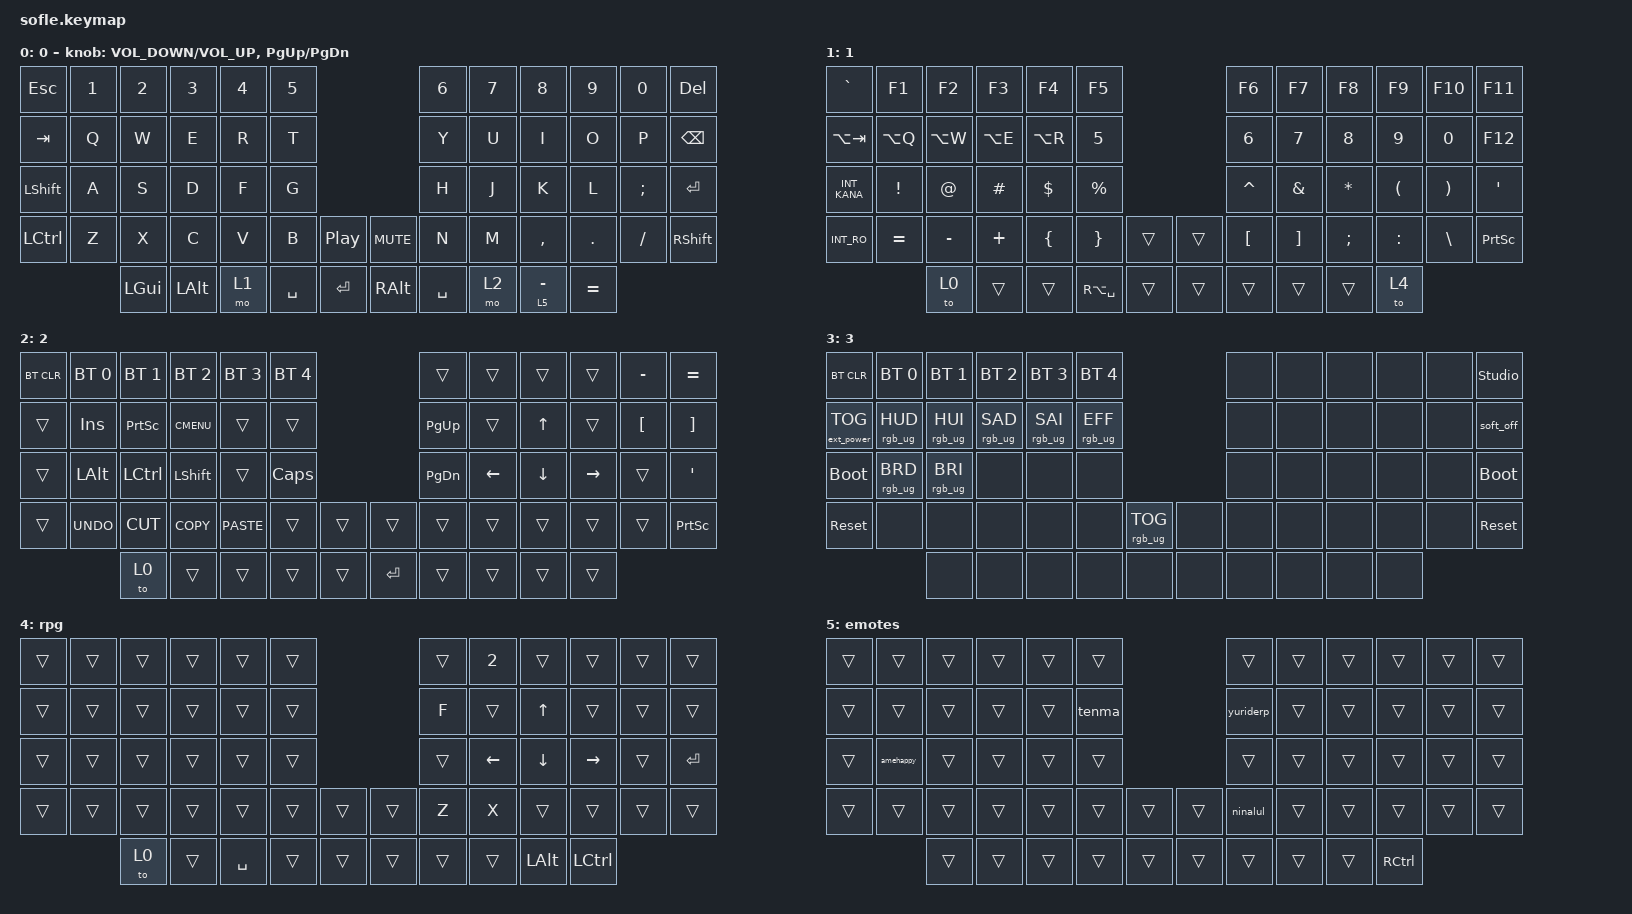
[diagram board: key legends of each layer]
/*
 * Copyright (c) 2020 The ZMK Contributors
 *
 * SPDX-License-Identifier: MIT
 */

#include <behaviors.dtsi>
#include <dt-bindings/zmk/bt.h>
#include <dt-bindings/zmk/ext_power.h>
#include <dt-bindings/zmk/keys.h>
#include <dt-bindings/zmk/rgb.h>

#define BASE 0
#define LOWER 1
#define RAISE 2
#define ADJUST 3

/ {
    // Activate ADJUST layer by pressing raise and lower

    conditional_layers {
        compatible = "zmk,conditional-layers";

        adjust_layer {
            if-layers = <1 2>;
            then-layer = <3>;
        };
    };

    macros {
        amehappy: amehappy {
            compatible = "zmk,behavior-macro";
            #binding-cells = <0>;
            bindings = <&kp COLON &kp A &kp M &kp E &kp TAB>;
            label = "AMEHAPPY";
        };

        yuriderp: yuriderp {
            compatible = "zmk,behavior-macro";
            #binding-cells = <0>;
            bindings = <&kp COLON &kp Y &kp U &kp R &kp I &kp D &kp TAB>;
            label = "YURIDERP";
        };

        tenma: tenma {
            compatible = "zmk,behavior-macro";
            #binding-cells = <0>;
            bindings = <&kp COLON &kp T &kp E &kp N &kp M &kp TAB>;
            label = "TENMA";
        };

        ninalul: ninalul {
            compatible = "zmk,behavior-macro";
            #binding-cells = <0>;
            bindings = <&kp COLON &kp N &kp I &kp N &kp TAB>;
            label = "NINALUL";
        };
    };

    keymap {
        compatible = "zmk,keymap";

        default_layer {
            display-name = "0";

            // ------------------------------------------------------------------------------------------------------------
            // |   `   |  1  |  2  |  3   |  4   |  5   |                   |  6   |  7    |  8    |  9   |   0   |       |
            // |  ESC  |  Q  |  W  |  E   |  R   |  T   |                   |  Y   |  U    |  I    |  O   |   P   | BKSPC |
            // |  TAB  |  A  |  S  |  D   |  F   |  G   |                   |  H   |  J    |  K    |  L   |   ;   |   '   |
            // | SHIFT |  Z  |  X  |  C   |  V   |  B   |  MUTE  |  |       |  N   |  M    |  ,    |  .   |   /   | SHIFT |
            //               | GUI | ALT  | CTRL | LOWER|  ENTER |  | SPACE | RAISE| CTRL  | ALT   | GUI  |

            bindings = <
&kp ESC         &kp N1  &kp N2        &kp N3    &kp N4  &kp N5                                     &kp N6     &kp N7  &kp N8       &kp N9     &kp N0    &kp DELETE
&kp TAB         &kp Q   &kp W         &kp E     &kp R   &kp T                                      &kp Y      &kp U   &kp I        &kp O      &kp P     &kp BSPC
&kp LEFT_SHIFT  &kp A   &kp S         &kp D     &kp F   &kp G                                      &kp H      &kp J   &kp K        &kp L      &kp SEMI  &kp ENTER
&kp LCTRL       &kp Z   &kp X         &kp C     &kp V   &kp B      &kp C_PLAY_PAUSE    &kp C_MUTE  &kp N      &kp M   &kp COMMA    &kp DOT    &kp FSLH  &kp RSHFT
                        &kp LEFT_GUI  &kp LALT  &mo 1   &kp SPACE  &kp ENTER           &kp RALT    &kp SPACE  &mo 2   &lt 5 MINUS  &kp EQUAL
            >;

            sensor-bindings =
                <&inc_dec_kp C_VOLUME_DOWN C_VOLUME_UP>,
                <&inc_dec_kp PAGE_UP PAGE_DOWN>;
        };

        lower_layer {
            display-name = "1";

            // TODO: Some binds are waiting for shifted keycode support.
            // ------------------------------------------------------------------------------------------------------------
            // |       |  F1 |  F2 |  F3  |  F4  |  F5  |                   |  F6  |  F7   |  F8   |  F9  |  F10  |  F11  |
            // |   `   |  1  |  2  |  3   |  4   |  5   |                   |  6   |  7    |  8    |  9   |   0   |  F12  |
            // |       |  !  |  @  |  #   |  $   |  %   |                   |  ^   |  &    |  *    |  (   |   )   |   |   |
            // |       |  =  |  -  |  +   |  {   |  }   |        |  |       |  [   |  ]    |  ;    |  :   |   \   |       |
            //               |     |      |      |      |        |  |       |      |       |       |      |

            bindings = <
&kp GRAVE     &kp F1     &kp F2     &kp F3     &kp F4     &kp F5                           &kp F6     &kp F7    &kp F8     &kp F9     &kp F10   &kp F11
&kp LA(TAB)   &kp LA(Q)  &kp LA(W)  &kp LA(E)  &kp LA(R)  &kp N5                           &kp N6     &kp N7    &kp N8     &kp N9     &kp N0    &kp F12
&kp INT_KANA  &kp EXCL   &kp AT     &kp HASH   &kp DLLR   &kp PRCNT                        &kp CARET  &kp AMPS  &kp ASTRK  &kp LPAR   &kp RPAR  &kp APOS
&kp INT_RO    &kp EQUAL  &kp MINUS  &kp PLUS   &kp LBRC   &kp RBRC       &trans    &trans  &kp LBKT   &kp RBKT  &kp SEMI   &kp COLON  &kp BSLH  &kp PRINTSCREEN
                         &to 0      &trans     &trans     &kp RA(SPACE)  &trans    &trans  &trans     &trans    &trans     &to 4
            >;
        };

        raise_layer {
            display-name = "2";

            // ------------------------------------------------------------------------------------------------------------
            // | BTCLR | BT1  | BT2  |  BT3  |  BT4  |  BT5 |                |      |      |       |      |       |       |
            // |       | INS  | PSCR | GUI   |       |      |                | PGUP |      |   ^   |      |       |       |
            // |       | ALT  | CTRL | SHIFT |       | CAPS |                | PGDN |   <- |   v   |  ->  |  DEL  | BKSPC |
            // |       | UNDO | CUT  | COPY  | PASTE |      |      |  |      |      |      |       |      |       |       |
            //                |      |       |       |      |      |  |      |      |      |       |      |

            bindings = <
&bt BT_CLR  &bt BT_SEL 0  &bt BT_SEL 1  &bt BT_SEL 2  &bt BT_SEL 3  &bt BT_SEL 4                       &trans     &trans          &trans          &trans     &kp MINUS         &kp EQUAL
&trans      &kp INS       &kp PSCRN     &kp K_CMENU   &trans        &trans                             &kp PG_UP  &trans          &kp UP_ARROW    &trans     &kp LEFT_BRACKET  &kp RIGHT_BRACKET
&trans      &kp LALT      &kp LCTRL     &kp LSHFT     &trans        &kp CLCK                           &kp PG_DN  &kp LEFT_ARROW  &kp DOWN_ARROW  &kp RIGHT  &trans            &kp APOS
&trans      &kp K_UNDO    &kp K_CUT     &kp K_COPY    &kp K_PASTE   &trans        &trans    &trans     &trans     &trans          &trans          &trans     &trans            &kp PRINTSCREEN
                          &to 0         &trans        &trans        &trans        &trans    &kp ENTER  &trans     &trans          &trans          &trans
            >;
        };

        adjust_layer {
            // ----------------------------------------------------------------------------------------------------------------------------
            // | BTCLR  |  BT1    |  BT2    |   BT3   |   BT4   |   BT5   |                  |      |      |       |      |       |       |
            // | EXTPWR | RGB_HUD | RGB_HUI | RGB_SAD | RGB_SAI | RGB_EFF |                  |      |      |       |      |       |       |
            // |        | RGB_BRD | RGB_BRI |         |         |         |                  |      |      |       |      |       |       |
            // |        |         |         |         |         |         | RGB_TOG | |      |      |      |       |      |       |       |
            //                    |         |         |         |         |         | |      |      |      |       |      |

            display-name = "3";
            bindings = <
&bt BT_CLR         &bt BT_SEL 0     &bt BT_SEL 1     &bt BT_SEL 2     &bt BT_SEL 3     &bt BT_SEL 4                               &none  &none  &none  &none  &none  &studio_unlock
&ext_power EP_TOG  &rgb_ug RGB_HUD  &rgb_ug RGB_HUI  &rgb_ug RGB_SAD  &rgb_ug RGB_SAI  &rgb_ug RGB_EFF                            &none  &none  &none  &none  &none  &soft_off
&bootloader        &rgb_ug RGB_BRD  &rgb_ug RGB_BRI  &none            &none            &none                                      &none  &none  &none  &none  &none  &bootloader
&sys_reset         &none            &none            &none            &none            &none            &rgb_ug RGB_TOG    &none  &none  &none  &none  &none  &none  &sys_reset
                                    &none            &none            &none            &none            &none              &none  &none  &none  &none  &none
            >;
        };

        rpg {
            bindings = <
&trans  &trans  &trans  &trans  &trans     &trans                    &trans  &kp NUMBER_2    &trans          &trans           &trans  &trans
&trans  &trans  &trans  &trans  &trans     &trans                    &kp F   &trans          &kp UP_ARROW    &trans           &trans  &trans
&trans  &trans  &trans  &trans  &trans     &trans                    &trans  &kp LEFT_ARROW  &kp DOWN_ARROW  &kp RIGHT_ARROW  &trans  &kp ENTER
&trans  &trans  &trans  &trans  &trans     &trans  &trans    &trans  &kp Z   &kp X           &trans          &trans           &trans  &trans
                &to 0   &trans  &kp SPACE  &trans  &trans    &trans  &trans  &trans          &kp LEFT_ALT    &kp LCTRL
            >;

            label = "rpg";
        };

        emote {
            bindings = <
&trans  &trans     &trans  &trans  &trans  &trans                    &trans     &trans  &trans  &trans     &trans  &trans
&trans  &trans     &trans  &trans  &trans  &tenma                    &yuriderp  &trans  &trans  &trans     &trans  &trans
&trans  &amehappy  &trans  &trans  &trans  &trans                    &trans     &trans  &trans  &trans     &trans  &trans
&trans  &trans     &trans  &trans  &trans  &trans  &trans    &trans  &ninalul   &trans  &trans  &trans     &trans  &trans
                   &trans  &trans  &trans  &trans  &trans    &trans  &trans     &trans  &trans  &kp RCTRL
            >;

            label = "emotes";
        };
    };
};
